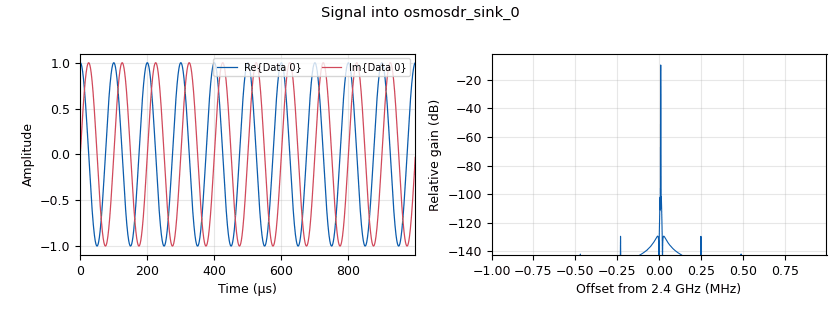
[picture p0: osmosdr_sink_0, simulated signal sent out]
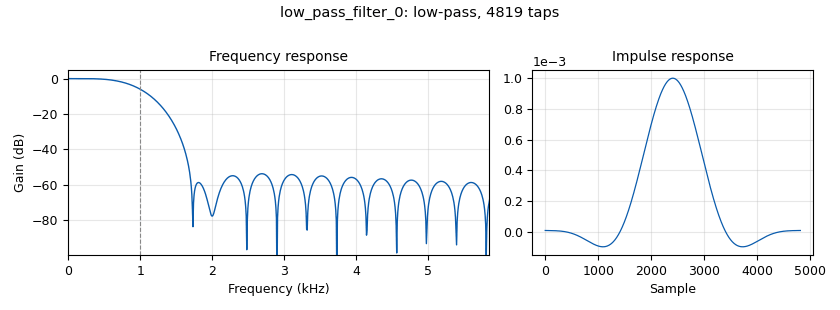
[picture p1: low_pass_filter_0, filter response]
options:
  parameters:
    generate_options: qt_gui
    id: top_block
    output_language: python
  states: {}

blocks:
- name: decim
  id: variable
  parameters:
    value: 512*4
  states: {}
- name: fft_size
  id: variable
  parameters:
    value: '512'
  states: {}
- name: samp_rate
  id: variable
  parameters:
    value: '2000000'
  states: {}
- name: analog_sig_source_x_0
  id: analog_sig_source_x
  parameters:
    amp: '1'
    freq: 10e3
    offset: '0'
    phase: '0'
    samp_rate: samp_rate
    type: complex
    waveform: analog.GR_COS_WAVE
  states: {}
- name: blocks_complex_to_mag_0
  id: blocks_complex_to_mag
  parameters:
    vlen: fft_size
  states: {}
- name: blocks_complex_to_real_0_1
  id: blocks_complex_to_real
  parameters: {}
  states: {}
- name: blocks_moving_average_xx_0
  id: blocks_moving_average_xx
  parameters:
    length: '1000'
    max_iter: '4000'
    scale: '1e-3'
    type: float
  states: {}
- name: blocks_multiply_conjugate_cc_0
  id: blocks_multiply_conjugate_cc
  parameters: {}
  states: {}
- name: blocks_multiply_const_vxx_0
  id: blocks_multiply_const_vxx
  parameters:
    const: '1'
    type: complex
  states: {}
- name: blocks_multiply_const_vxx_1
  id: blocks_multiply_const_vxx
  parameters:
    const: '10'
    type: complex
  states: {}
- name: blocks_stream_to_vector_0
  id: blocks_stream_to_vector
  parameters:
    num_items: fft_size
    type: complex
  states: {}
- name: blocks_udp_sink_0_0
  id: blocks_udp_sink
  parameters:
    eof: 'True'
    ipaddr: 10.10.1.7
    port: '3333'
    psize: '1472'
    type: complex
    vlen: '1'
  states: {}
- name: blocks_vector_to_stream_0
  id: blocks_vector_to_stream
  parameters:
    num_items: fft_size
    type: float
  states: {}
- name: fft_vxx_0_0_0
  id: fft_vxx
  parameters:
    fft_size: fft_size
    forward: 'False'
    nthreads: '8'
    shift: 'True'
    type: complex
    window: window.blackmanharris(fft_size)
  states: {}
- name: limesdr_sink_0
  id: limesdr_sink
  parameters:
    analog_filter_ch0: '1'
    analog_filter_ch1: '1'
    calibr_bandw_ch0: 10e6
    calibr_bandw_ch1: 10e6
    calibration_ch0: '0'
    calibration_ch1: '0'
    channel: '0'
    chip_mode: '1'
    cmix_mode_ch0: '0'
    cmix_mode_ch1: '0'
    device_type: '1'
    digital_bandw_ch0: '0'
    digital_bandw_ch1: '0'
    digital_filter_ch0: '0'
    digital_filter_ch1: '0'
    file_switch: '0'
    gain_dB_ch0: '50'
    gain_dB_ch1: '30'
    oversample: '0'
    pa_path_ch0: '1'
    pa_path_ch1: '1'
    pa_path_mini: '1'
    rf_freq: 2.45e9
    samp_rate: samp_rate
    serial: 1D3AD55F42C0AB
  states: {state: disabled}
- name: limesdr_source_0
  id: limesdr_source
  parameters:
    analog_bandw_ch0: 5e6
    analog_bandw_ch1: 5e6
    analog_filter_ch0: '1'
    analog_filter_ch1: '1'
    calibr_bandw_ch0: 10e6
    calibr_bandw_ch1: 10e6
    calibration_ch0: '0'
    calibration_ch1: '0'
    channel: '0'
    chip_mode: '1'
    cmix_mode_ch0: '0'
    cmix_mode_ch1: '0'
    device_type: '1'
    digital_bandw_ch0: '0'
    digital_bandw_ch1: '0'
    digital_filter_ch0: '0'
    digital_filter_ch1: '0'
    file_switch: '0'
    gain_dB_ch0: '50'
    gain_dB_ch1: '30'
    lna_path_ch0: '2'
    lna_path_mini: '1'
    oversample: '0'
    rf_freq: 2.45e9
    samp_rate: samp_rate
    serial: 1D3AD55F42C0AB
  states: {state: disabled}
- name: low_pass_filter_0
  id: low_pass_filter
  parameters:
    cutoff_freq: 1e3
    decim: decim
    gain: '1'
    samp_rate: samp_rate
    type: fir_filter_ccf
    width: 1e3
    win: firdes.WIN_HAMMING
  states: {}
- name: osmosdr_sink_0
  id: osmosdr_sink
  parameters:
    bb_gain0: '20'
    bw0: 5e6
    freq0: 2400e6
    gain0: '30'
    if_gain0: '20'
    sample_rate: samp_rate
    sync: sync
    type: fc32
  states: {}
- name: osmosdr_source_0
  id: osmosdr_source
  parameters:
    bb_gain0: '20'
    bw0: 5e6
    freq0: 2400e6
    gain0: '30'
    gain_mode0: 'False'
    if_gain0: '20'
    sample_rate: samp_rate
    sync: sync
    type: fc32
  states: {}
- name: qtgui_time_raster_sink_x_0
  id: qtgui_time_raster_sink_x
  parameters:
    name: '"Mag"'
    ncols: fft_size
    nrows: '256'
    samp_rate: samp_rate
    type: float
  states: {}
- name: qtgui_time_sink_x_1
  id: qtgui_time_sink_x
  parameters:
    label1: ''
    size: '1024'
    srate: samp_rate
    type: float
  states: {}
- name: qtgui_waterfall_sink_x_0
  id: qtgui_waterfall_sink_x
  parameters:
    bw: samp_rate/decim
    fc: '0'
    fftsize: fft_size
    showports: 'True'
    type: complex
    wintype: firdes.WIN_BLACKMAN_hARRIS
  states: {}

connections:
- [analog_sig_source_x_0, '0', blocks_multiply_const_vxx_0, '0']
- [analog_sig_source_x_0, '0', limesdr_sink_0, '0']
- [analog_sig_source_x_0, '0', osmosdr_sink_0, '0']
- [blocks_complex_to_mag_0, '0', blocks_vector_to_stream_0, '0']
- [blocks_complex_to_real_0_1, '0', blocks_moving_average_xx_0, '0']
- [blocks_moving_average_xx_0, '0', qtgui_time_sink_x_1, '0']
- [blocks_multiply_conjugate_cc_0, '0', blocks_complex_to_real_0_1, '0']
- [blocks_multiply_conjugate_cc_0, '0', low_pass_filter_0, '0']
- [blocks_multiply_const_vxx_0, '0', blocks_multiply_conjugate_cc_0, '0']
- [blocks_multiply_const_vxx_1, '0', blocks_multiply_conjugate_cc_0, '1']
- [blocks_stream_to_vector_0, '0', fft_vxx_0_0_0, '0']
- [blocks_vector_to_stream_0, '0', qtgui_time_raster_sink_x_0, '0']
- [fft_vxx_0_0_0, '0', blocks_complex_to_mag_0, '0']
- [low_pass_filter_0, '0', blocks_stream_to_vector_0, '0']
- [low_pass_filter_0, '0', blocks_udp_sink_0_0, '0']
- [low_pass_filter_0, '0', qtgui_waterfall_sink_x_0, '0']
- [osmosdr_source_0, '0', blocks_multiply_const_vxx_1, '0']

metadata:
  file_format: 1
